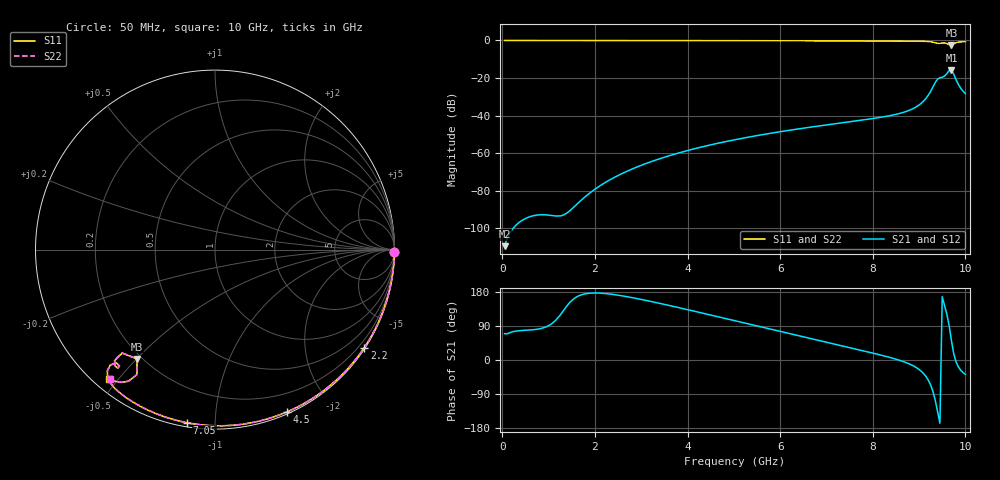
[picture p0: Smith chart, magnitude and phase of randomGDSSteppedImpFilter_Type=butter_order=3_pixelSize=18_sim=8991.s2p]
! freq	dB(S11)	phase(S11)	dB(S12)	phase(S12)
!  dB(S21)	phase(S21)	dB(S22)	phase(S22)
!S-par simulation data
#  GHz  S  DB  R 50
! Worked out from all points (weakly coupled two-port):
!   200 points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, 50 MHz to 10 GHz, reference 50 ohm
!   highest |S21| = -15.79 dB at 9.7 GHz (marker M1); lowest = -109.4 dB at 50 MHz (marker M2)
!   lowest |S11| = -2.5 dB at 9.7 GHz (marker M3), VSWR 6.95, Z = 9.06 - j25.1 ohm
!   |S11| at or under -10 dB: nowhere
!   |S22| runs from -2.5 to 0.0 dB; largest |S21 - S12| = 0
!   S11 on the Smith chart (normalised r, x): 50 MHz: open; 2.2 GHz: 0.03, -3.34; 4.5 GHz: 0.02, -1.54; 7.05 GHz: 0.02, -0.85; 10 GHz: 0.04, -0.47
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0.05  -0.00 -0.8  -109.41 69.6  -109.41 69.6  -0.00 -0.8
1.75  -0.03 -26.6  -83.96 173.4  -83.96 173.4  -0.03 -26.6
1.95  -0.04 -29.6  -80.00 176.7  -80.00 176.7  -0.04 -29.6
2.2  -0.04 -33.3  -75.89 175.7  -75.89 175.7  -0.04 -33.3
2.75  -0.05 -41.3  -68.92 165.8  -68.92 165.8  -0.05 -41.3
3.4  -0.07 -50.7  -62.89 149.5  -62.89 149.5  -0.07 -50.7
4.5  -0.09 -66.0  -55.52 118.7  -55.52 118.7  -0.09 -66.0
5.05  -0.11 -73.4  -52.66 102.8  -52.66 102.8  -0.11 -73.4
6.7  -0.18 -94.7  -45.95 55.4  -45.95 55.4  -0.18 -94.7
7.05  -0.20 -99.1  -44.75 45.4  -44.75 45.4  -0.20 -99.1
8.35  -0.29 -115.5  -40.08 7.4  -40.08 7.4  -0.29 -115.4
8.75  -0.34 -120.9  -37.51 -8.3  -37.51 -8.3  -0.34 -120.9
9  -0.39 -124.8  -34.32 -25.0  -34.32 -25.0  -0.39 -124.8
9.2  -0.56 -129.1  -29.06 -53.4  -29.06 -53.4  -0.56 -129.0
9.4  -1.54 -131.1  -20.57 -136.5  -20.57 -136.5  -1.53 -131.1
9.5  -1.39 -129.3  -19.52 167.0  -19.52 167.0  -1.38 -129.4
9.6  -1.59 -132.2  -17.60 120.7  -17.60 120.7  -1.58 -132.3
9.65  -2.22 -131.9  -15.99 90.1  -15.99 90.1  -2.23 -132.0
9.7  -2.52 -125.4  -15.79 50.1  -15.79 50.1  -2.54 -125.5
9.8  -1.13 -123.3  -20.98 -5.7  -20.98 -5.7  -1.14 -123.3
9.9  -0.74 -126.7  -25.43 -27.1  -25.43 -27.1  -0.75 -126.7
10  -0.63 -129.2  -28.28 -37.8  -28.28 -37.8  -0.63 -129.2
